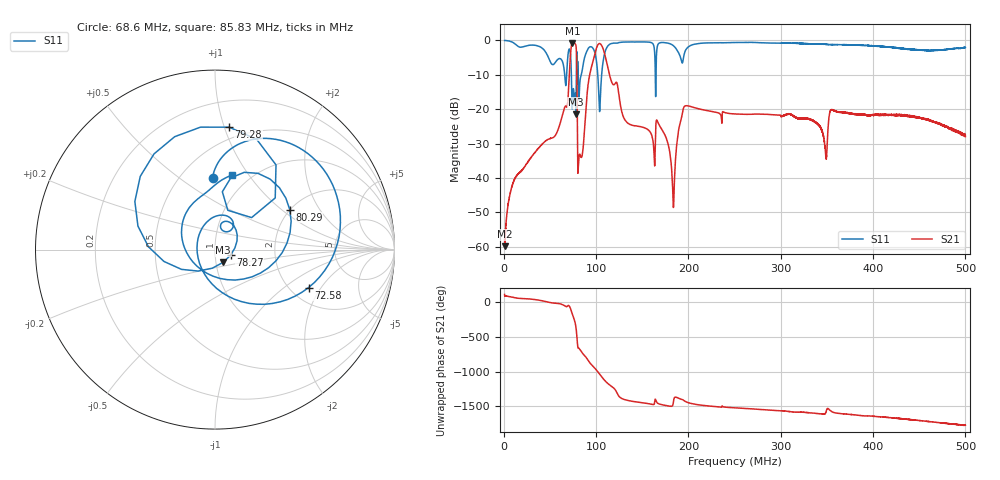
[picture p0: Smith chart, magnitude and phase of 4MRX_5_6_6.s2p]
! NanoVNA-App
! Date: 2026-08-19 14:50:12
! Start: 1MHz Stop: 500MHz Points: 6401
! S-Parameter data: F S11 S21 S12 S22
# Hz S RI R 50
!  Frequency  S11_Real  S11_Imag  S21_Real  S21_Imag  S12_Real  S12_Imag  S22_Real  S22_Imag
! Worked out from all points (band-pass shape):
!   6401 points, 1 MHz to 500 MHz, reference 50 ohm
!   highest |S21| = -0.75 dB at 74.45 MHz (marker M1); lowest = -59.8 dB at 1.234 MHz (marker M2)
!   |S21| within 3 dB of the highest: 72.48 MHz to 78.78 MHz (6.306 MHz wide, 8.34 % of centre); 98.79 MHz to 109.2 MHz (10.41 MHz wide, 10 % of centre)
!   lowest |S11| = -21.5 dB at 78.34 MHz (marker M3), VSWR 1.18, Z = 54.1 - j7.78 ohm
!   |S11| at or under -10 dB: 73.3 MHz to 78.68 MHz (5.379 MHz wide, 7.08 % of centre); 80.76 MHz to 83.99 MHz (3.234 MHz wide, 3.93 % of centre); 101.9 MHz to 106.1 MHz (4.199 MHz wide, 4.04 % of centre) (the widest 3 of 6)
!   S12 and S22 are empty: the file has one direction only
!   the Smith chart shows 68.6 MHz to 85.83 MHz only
!   S11 on the Smith chart (normalised r, x): 68.6 MHz: 0.71, +0.67; 72.58 MHz: 2.50, -1.54; 78.27 MHz: 1.19, -0.08; 79.28 MHz: 0.40, +1.04; 80.29 MHz: 1.99, +1.14; 85.83 MHz: 0.83, +0.84
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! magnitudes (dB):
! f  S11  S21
! 1 MHz  0.0  -57.9
! 1.234 MHz  0.0  -59.8
! 11.76 MHz  -0.9  -40.4
! 68.6 MHz  -7.9  -19.4
! 72.58 MHz  -5.0  -3.4
! 74.45 MHz  -18.3  -0.8
! 78.27 MHz  -20.7  -1.5
! 78.34 MHz  -21.5  -1.6
! 79.28 MHz  -3.3  -10.8
! 80.29 MHz  -6.5  -38.7
! 84.19 MHz  -9.8  -34.0
! 85.83 MHz  -7.4  -31.8
! 96.36 MHz  -2.2  -6.3
! 103.5 MHz  -19.4  -0.9
! 132.3 MHz  -0.5  -23.5
! 167.4 MHz  -1.0  -24.1
! 183.5 MHz  -1.5  -47.0
! 196.5 MHz  -3.1  -19.0
! 250.5 MHz  -0.6  -21.4
! 333.7 MHz  -1.0  -23.1
! 416.9 MHz  -1.9  -21.6
! 500 MHz  -2.1  -28.0
